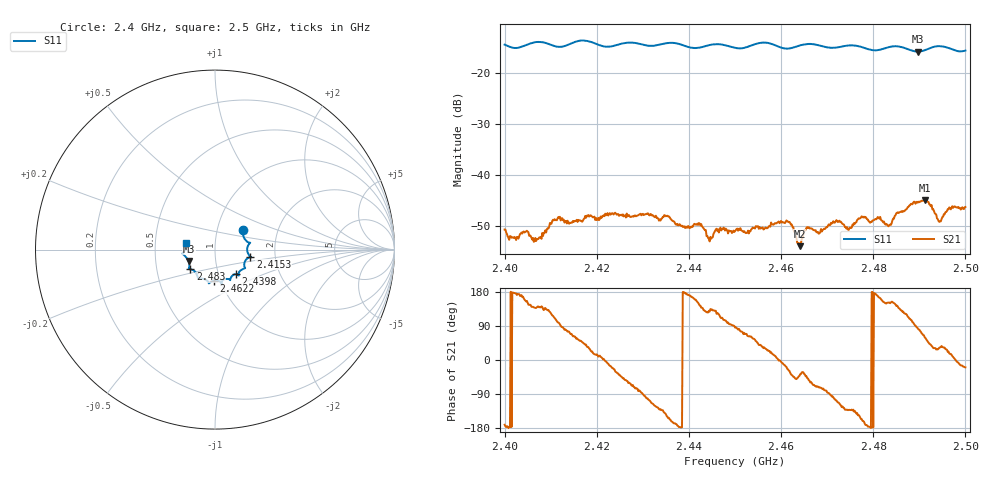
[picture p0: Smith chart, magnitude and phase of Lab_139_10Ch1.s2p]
# Hz S RI R 50
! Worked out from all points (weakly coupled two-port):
!   601 points, 2.4 GHz to 2.5 GHz, reference 50 ohm
!   highest |S21| = -44.95 dB at 2.4912 GHz (marker M1); lowest = -53.9 dB at 2.464 GHz (marker M2)
!   lowest |S11| = -15.9 dB at 2.4897 GHz (marker M3), VSWR 1.38, Z = 36.9 - j4.82 ohm
!   |S11| at or under -10 dB: start of sweep to end of sweep
!   S12 and S22 are empty: the file has one direction only
!   S11 on the Smith chart (normalised r, x): 2.4 GHz: 1.33, +0.29; 2.4153 GHz: 1.48, -0.12; 2.4398 GHz: 1.21, -0.34; 2.4622 GHz: 0.93, -0.33; 2.483 GHz: 0.74, -0.17; 2.5 GHz: 0.72, +0.06
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2.4e9  0.1552 0.1065  -0.00289 -0.000462  0 0  0 0
2.406833e9  0.1957 0.0381  -0.00166 0.00154  0 0  0 0
2.411167e9  0.1803 0.0115  -0.00099 0.00351  0 0  0 0
2.415333e9  0.1965 -0.0389  0.00169 0.0031  0 0  0 0
2.416667e9  0.202 -0.043  0.00232 0.0027  0 0  0 0
2.433333e9  0.1311 -0.1336  -0.00221 -0.00301  0 0  0 0
2.439833e9  0.1151 -0.1363  -0.00314 0.000483  0 0  0 0
2.442333e9  0.0931 -0.1493  -0.0027 0.00198  0 0  0 0
2.444667e9  0.0847 -0.167  -0.00174 0.00177  0 0  0 0
2.45e9  0.0649 -0.1628  0.000212 0.00281  0 0  0 0
2.462167e9  -0.00736 -0.1737  0.00257 -0.00201  0 0  0 0
2.464e9  -0.0269 -0.1823  0.00151 -0.00134  0 0  0 0
2.466667e9  -0.0343 -0.1877  0.00147 -0.00261  0 0  0 0
2.472333e9  -0.0732 -0.1611  -0.00129 -0.00321  0 0  0 0
2.474833e9  -0.0916 -0.1605  -0.00199 -0.00226  0 0  0 0
2.477833e9  -0.0987 -0.1461  -0.00364 -0.00124  0 0  0 0
2.483e9  -0.1377 -0.1095  -0.00286 0.00159  0 0  0 0
2.483333e9  -0.1401 -0.1091  -0.00278 0.0015  0 0  0 0
2.489667e9  -0.1475 -0.0637  0.000634 0.00532  0 0  0 0
2.491167e9  -0.16 -0.0436  0.00282 0.0049  0 0  0 0
2.494333e9  -0.1806 -0.0216  0.00294 0.00187  0 0  0 0
2.5e9  -0.1599 0.0394  0.00459 -0.00162  0 0  0 0
